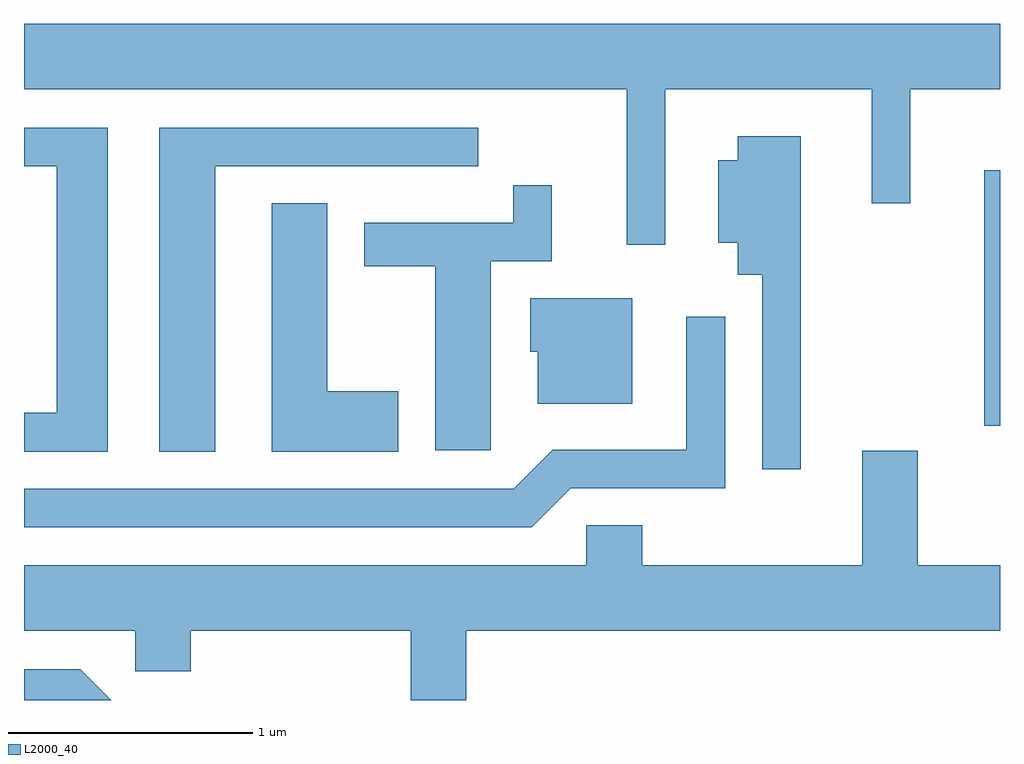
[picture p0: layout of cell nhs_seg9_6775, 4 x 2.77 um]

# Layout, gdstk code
import gdstk
lib = gdstk.Library(unit=1e-6, precision=1e-09)
def R(c, l, rs):  # rectangles x0, y0, x1, y1
    for r in rs: c.add(gdstk.rectangle(r[:2], r[2:], *l))
def P(c, l, *ps):  # polygons
    for p in ps: c.add(gdstk.Polygon(p, *l))
L2000_40 = (2000, 40)

nhs_seg9_6775 = lib.new_cell('nhs_seg9_6775')
R(nhs_seg9_6775, L2000_40, [(389.546,1981.556,389.611,1982.604)])
P(nhs_seg9_6775, L2000_40, [(388.239,1982.936),(389.086,1982.936),(389.086,1982.468),(389.244,1982.468),(389.244,1982.936),(389.611,1982.936),(389.611,1983.204),(385.611,1983.204),(385.611,1982.936),(388.081,1982.936),(388.081,1982.298),(388.239,1982.298)],
  [(386.394,1982.621),(387.473,1982.621),(387.473,1982.779),(386.166,1982.779),(386.166,1981.451),(386.394,1981.451)],
  [(385.954,1982.779),(385.611,1982.779),(385.611,1982.621),(385.746,1982.621),(385.746,1981.609),(385.611,1981.609),(385.611,1981.451),(385.954,1981.451)],
  [(388.794,1982.744),(388.536,1982.744),(388.536,1982.644),(388.456,1982.644),(388.456,1982.306),(388.536,1982.306),(388.536,1982.176),(388.636,1982.176),(388.636,1981.378),(388.794,1981.378)],
  [(387.524,1982.231),(387.774,1982.231),(387.774,1982.543),(387.616,1982.543),(387.616,1982.389),(387.006,1982.389),(387.006,1982.211),(387.296,1982.211),(387.296,1981.456),(387.524,1981.456)],
  [(387.144,1981.699),(386.854,1981.699),(386.854,1982.469),(386.626,1982.469),(386.626,1981.451),(387.144,1981.451)],
  [(388.104,1982.079),(387.686,1982.079),(387.686,1981.861),(387.716,1981.861),(387.716,1981.646),(388.104,1981.646)],
  [(387.852,1981.301),(388.484,1981.301),(388.484,1982.003),(388.326,1982.003),(388.326,1981.459),(387.779,1981.459),(387.619,1981.299),(385.611,1981.299),(385.611,1981.141),(387.692,1981.141)],
  [(387.424,1980.716),(389.611,1980.716),(389.611,1980.984),(389.274,1980.984),(389.274,1981.454),(389.046,1981.454),(389.046,1980.984),(388.144,1980.984),(388.144,1981.149),(387.916,1981.149),(387.916,1980.984),(385.611,1980.984),(385.611,1980.716),(386.066,1980.716),(386.066,1980.551),(386.294,1980.551),(386.294,1980.716),(387.196,1980.716),(387.196,1980.432),(387.424,1980.432)],
  [(385.842,1980.559),(385.611,1980.559),(385.611,1980.432),(385.969,1980.432)])

lib.write_gds('nhs_seg9_6775.gds')
